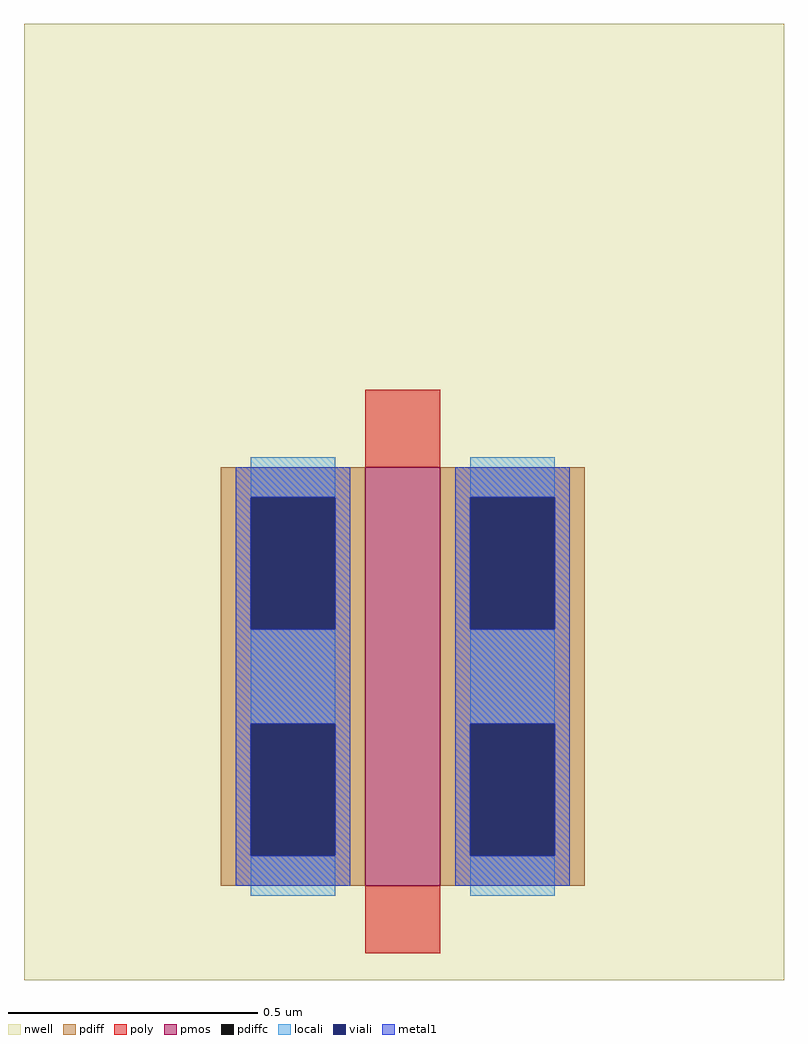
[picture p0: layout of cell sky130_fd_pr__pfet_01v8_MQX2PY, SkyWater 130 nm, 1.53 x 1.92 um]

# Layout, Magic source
magic
tech sky130A
magscale 1 2
<< nwell >>
rect -152 -152 153 232
<< pmos >>
rect -15 -114 15 54
<< pdiff >>
rect -73 42 -15 54
rect -73 -11 -61 42
rect -27 -11 -15 42
rect -73 -49 -15 -11
rect -73 -102 -61 -49
rect -27 -102 -15 -49
rect -73 -114 -15 -102
rect 15 42 73 54
rect 15 -11 27 42
rect 61 -11 73 42
rect 15 -49 73 -11
rect 15 -102 27 -49
rect 61 -102 73 -49
rect 15 -114 73 -102
<< pdiffc >>
rect -61 -11 -27 42
rect -61 -102 -27 -49
rect 27 -11 61 42
rect 27 -102 61 -49
<< poly >>
rect -15 54 15 85
rect -15 -141 15 -114
<< locali >>
rect -61 42 -27 58
rect -61 -49 -27 -11
rect -61 -118 -27 -102
rect 27 42 61 58
rect 27 -49 61 -11
rect 27 -118 61 -102
<< viali >>
rect -61 -11 -27 42
rect -61 -102 -27 -49
rect 27 -11 61 42
rect 27 -102 61 -49
<< metal1 >>
rect -67 42 -21 54
rect -67 -11 -61 42
rect -27 -11 -21 42
rect -67 -49 -21 -11
rect -67 -102 -61 -49
rect -27 -102 -21 -49
rect -67 -114 -21 -102
rect 21 42 67 54
rect 21 -11 27 42
rect 61 -11 67 42
rect 21 -49 67 -11
rect 21 -102 27 -49
rect 61 -102 67 -49
rect 21 -114 67 -102
<< properties >>
string FIXED_BBOX -158 -250 158 250
string gencell sky130_fd_pr__pfet_01v8
string library sky130
string parameters w 0.84 l 0.15 m 1 nf 1 diffcov 100 polycov 100 guard 1 glc 1 grc 1 gtc 1 gbc 1 tbcov 100 rlcov 100 topc 1 botc 1 poverlap 0 doverlap 1 lmin 0.15 wmin 0.42 compatible {sky130_fd_pr__pfet_01v8  sky130_fd_pr__pfet_01v8_lvt sky130_fd_pr__pfet_01v8_hvt  sky130_fd_pr__pfet_g5v0d10v5} full_metal 1 viasrc 100 viadrn 100 viagate 100 viagb 0 viagr 0 viagl 0 viagt 0
<< end >>
